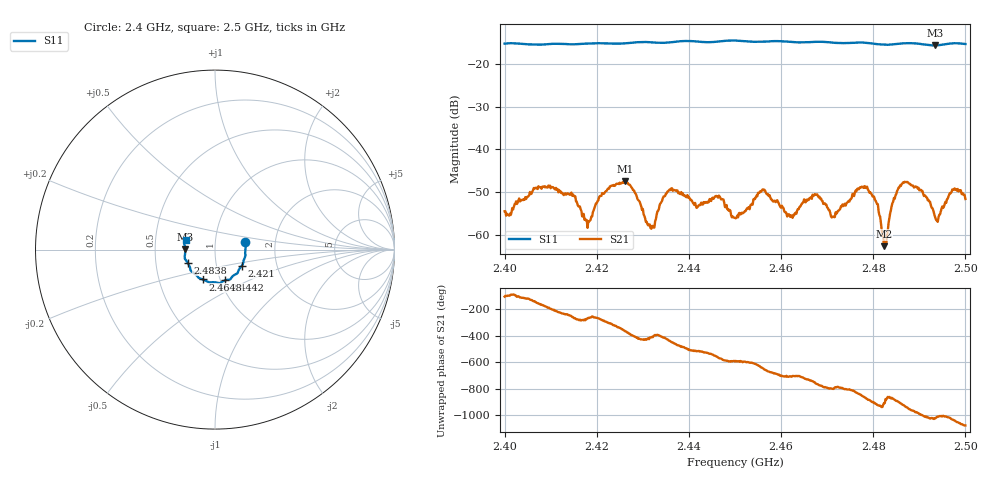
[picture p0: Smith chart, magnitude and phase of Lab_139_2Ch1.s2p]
# Hz S RI R 50
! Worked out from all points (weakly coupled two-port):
!   601 points, 2.4 GHz to 2.5 GHz, reference 50 ohm
!   highest |S21| = -47.54 dB at 2.4262 GHz (marker M1); lowest = -62.7 dB at 2.4823 GHz (marker M2)
!   lowest |S11| = -15.6 dB at 2.4935 GHz (marker M3), VSWR 1.40, Z = 35.8 + j0.198 ohm
!   |S11| at or under -10 dB: start of sweep to end of sweep
!   S12 and S22 are empty: the file has one direction only
!   S11 on the Smith chart (normalised r, x): 2.4 GHz: 1.40, +0.12; 2.421 GHz: 1.33, -0.24; 2.4442 GHz: 1.05, -0.37; 2.4648 GHz: 0.83, -0.28; 2.4838 GHz: 0.73, -0.11; 2.5 GHz: 0.72, +0.08
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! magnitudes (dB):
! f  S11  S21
! 2.4 GHz  -15.2  -54.5
! 2.4093 GHz  -15.3  -49.0
! 2.4167 GHz  -15.3  -54.5
! 2.421 GHz  -15.1  -50.9
! 2.4262 GHz  -15.1  -47.5
! 2.4313 GHz  -14.9  -57.7
! 2.4333 GHz  -15.0  -54.4
! 2.4362 GHz  -14.9  -49.2
! 2.4442 GHz  -14.9  -52.5
! 2.45 GHz  -14.5  -56.1
! 2.456 GHz  -14.8  -49.4
! 2.4618 GHz  -14.8  -55.5
! 2.4648 GHz  -14.9  -52.4
! 2.4667 GHz  -14.8  -51.6
! 2.4713 GHz  -15.0  -55.8
! 2.4783 GHz  -15.0  -49.1
! 2.4823 GHz  -15.5  -62.7
! 2.4833 GHz  -15.5  -57.2
! 2.4838 GHz  -15.5  -54.3
! 2.487 GHz  -15.1  -47.7
! 2.4935 GHz  -15.6  -56.2
! 2.5 GHz  -15.3  -51.7
